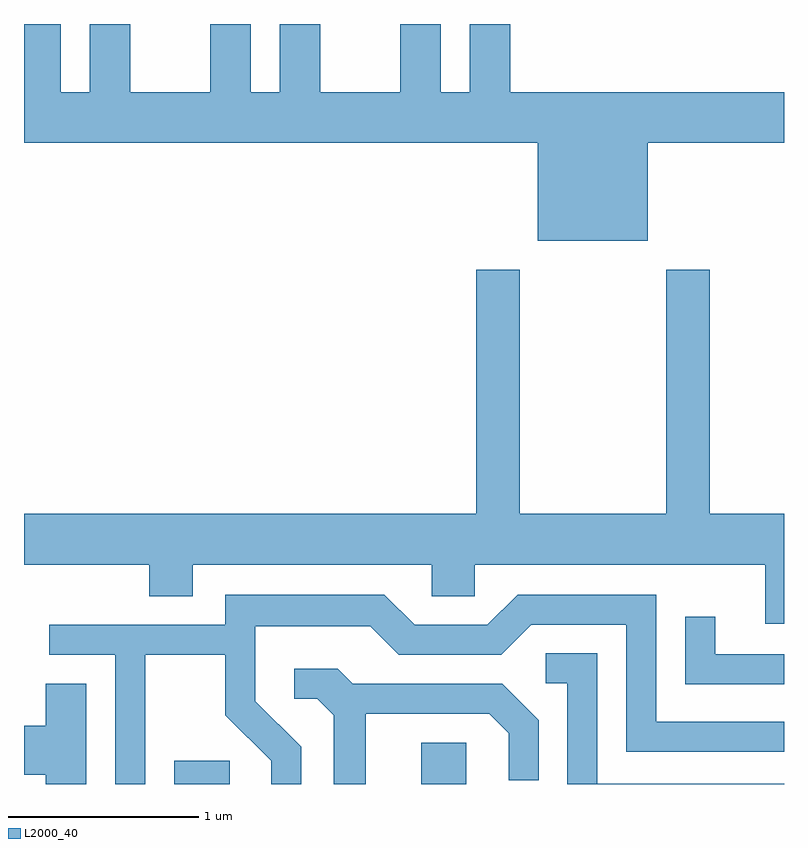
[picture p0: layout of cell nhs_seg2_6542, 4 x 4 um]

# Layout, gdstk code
import gdstk
lib = gdstk.Library(unit=1e-6, precision=1e-09)
def R(c, l, rs):  # rectangles x0, y0, x1, y1
    for r in rs: c.add(gdstk.rectangle(r[:2], r[2:], *l))
def P(c, l, *ps):  # polygons
    for p in ps: c.add(gdstk.Polygon(p, *l))
L2000_40 = (2000, 40)

nhs_seg2_6542 = lib.new_cell('nhs_seg2_6542')
R(nhs_seg2_6542, L2000_40, [(378.401,1073.802,378.694,1073.924), (379.701,1073.802,379.939,1074.019)])
P(nhs_seg2_6542, L2000_40, [(377.956,1077.802),(377.956,1077.444),(377.804,1077.444),(377.804,1077.802),(377.611,1077.802),(377.611,1077.176),(380.316,1077.176),(380.316,1076.661),(380.894,1076.661),(380.894,1077.176),(381.611,1077.176),(381.611,1077.444),(380.169,1077.444),(380.169,1077.802),(379.956,1077.802),(379.956,1077.444),(379.804,1077.444),(379.804,1077.802),(379.591,1077.802),(379.591,1077.444),(379.169,1077.444),(379.169,1077.802),(378.956,1077.802),(378.956,1077.444),(378.804,1077.444),(378.804,1077.802),(378.591,1077.802),(378.591,1077.444),(378.169,1077.444),(378.169,1077.802)],
  [(381.611,1075.224),(381.219,1075.224),(381.219,1076.509),(380.991,1076.509),(380.991,1075.224),(380.219,1075.224),(380.219,1076.509),(379.991,1076.509),(379.991,1075.224),(377.611,1075.224),(377.611,1074.956),(378.271,1074.956),(378.271,1074.791),(378.499,1074.791),(378.499,1074.956),(379.756,1074.956),(379.756,1074.791),(379.984,1074.791),(379.984,1074.956),(381.511,1074.956),(381.511,1074.646),(381.611,1074.646)],
  [(378.249,1074.481),(378.671,1074.481),(378.671,1074.164),(378.911,1073.924),(378.911,1073.802),(379.069,1073.802),(379.069,1073.997),(378.829,1074.237),(378.829,1074.631),(379.434,1074.631),(379.584,1074.481),(380.122,1074.481),(380.282,1074.641),(380.781,1074.641),(380.781,1073.971),(381.611,1073.971),(381.611,1074.129),(380.939,1074.129),(380.939,1074.799),(380.209,1074.799),(380.049,1074.639),(379.667,1074.639),(379.507,1074.799),(378.671,1074.799),(378.671,1074.639),(377.743,1074.639),(377.743,1074.481),(378.091,1074.481),(378.091,1073.802),(378.249,1073.802)],
  [(381.611,1074.484),(381.249,1074.484),(381.249,1074.683),(381.091,1074.683),(381.091,1074.326),(381.611,1074.326)],
  [(381.611,1073.804),(380.629,1073.804),(380.629,1074.489),(380.358,1074.489),(380.358,1074.331),(380.471,1074.331),(380.471,1073.802),(381.611,1073.802)],
  [(379.409,1074.171),(380.059,1074.171),(380.161,1074.069),(380.161,1073.823),(380.319,1073.823),(380.319,1074.137),(380.127,1074.329),(379.342,1074.329),(379.262,1074.409),(379.033,1074.409),(379.033,1074.251),(379.154,1074.251),(379.241,1074.164),(379.241,1073.802),(379.409,1073.802)],
  [(377.939,1074.329),(377.726,1074.329),(377.726,1074.109),(377.611,1074.109),(377.611,1073.851),(377.726,1073.851),(377.726,1073.802),(377.939,1073.802)])

lib.write_gds('nhs_seg2_6542.gds')
